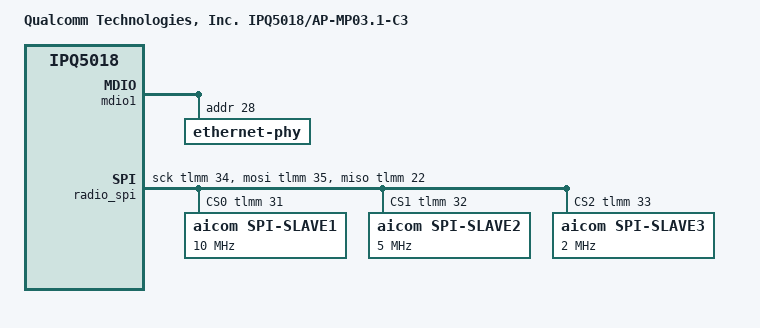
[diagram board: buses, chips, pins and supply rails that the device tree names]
/* Copyright (c) 2018-2021, The Linux Foundation. All rights reserved.
 *
 * Permission to use, copy, modify, and/or distribute this software for any
 * purpose with or without fee is hereby granted, provided that the above
 * copyright notice and this permission notice appear in all copies.
 *
 * THE SOFTWARE IS PROVIDED "AS IS" AND THE AUTHOR DISCLAIMS ALL WARRANTIES
 * WITH REGARD TO THIS SOFTWARE INCLUDING ALL IMPLIED WARRANTIES OF
 * MERCHANTABILITY AND FITNESS. IN NO EVENT SHALL THE AUTHOR BE LIABLE FOR
 * ANY SPECIAL, DIRECT, INDIRECT, OR CONSEQUENTIAL DAMAGES OR ANY DAMAGES
 * WHATSOEVER RESULTING FROM LOSS OF USE, DATA OR PROFITS, WHETHER IN AN
 * ACTION OF CONTRACT, NEGLIGENCE OR OTHER TORTIOUS ACTION, ARISING OUT OF
 * OR IN CONNECTION WITH THE USE OR PERFORMANCE OF THIS SOFTWARE.
 */

#include "ipq5018-mp03.1.dts"

/ {
	#address-cells = <0x2>;
	#size-cells = <0x2>;
	model = "Qualcomm Technologies, Inc. IPQ5018/AP-MP03.1-C3";
	compatible = "qcom,ipq5018-ap-mp03.1-c3", "qcom,ipq5018-mp03.1-c3", "qcom,ipq5018";
	interrupt-parent = <&intc>;

	soc {
		mdio1: mdio@90000 {
			ethernet-phy@0 {
				reg = <28>;
			};
			/delete-node/ethernet-phy@1;
			/delete-node/ethernet-phy@2;
			/delete-node/ethernet-phy@3;
			/delete-node/switch0@10;
		};

		ess-instance {
			num_devices = <0x1>;
			ess-switch@0x39c00000 {
				qcom,port_phyinfo {
					port@1 {
						port_id = <2>;
						phy_address = <0x1c>;
						mdiobus = <&mdio1>;
						port_mac_sel = "QGMAC_PORT";
						/delete-property/forced-speed;
						/delete-property/forced-duplex;
					};
				};
			};
		};

		dp2 {
			qcom,link-poll = <1>;
			qcom,phy-mdio-addr = <28>;
			mdio-bus = <&mdio1>;
		};

                /* wangyaoyang : GPIO configuration for Radio-SPI driver */
                radio_spi: radio-spi {
                        compatible = "aicom,radio-spi";
                        pinctrl-names = "default";
                        pinctrl-0 = <&radio_spi_pins>;

                        cs-gpios = <&tlmm 31 GPIO_ACTIVE_HIGH>,
                                   <&tlmm 32 GPIO_ACTIVE_HIGH>,
                                   <&tlmm 33 GPIO_ACTIVE_HIGH>;  // 三个片选引脚
                        sck-gpios = <&tlmm 34 GPIO_ACTIVE_HIGH>;
                        mosi-gpios = <&tlmm 35 GPIO_ACTIVE_HIGH>;
                        miso-gpios = <&tlmm 22 GPIO_ACTIVE_HIGH>;

                        spi-slave1 {
                                compatible = "aicom,spi-slave1";
                                reg = <0>;  // 从设备ID
                                spi-max-frequency = <10000000>; // 10MHz
                                spi-cpol = <0>; // CPOL=0
                                spi-cpha = <0>; // CPHA=0
                        };

                        spi-slave2 {
                                compatible = "aicom,spi-slave2";
                                reg = <1>;  // 从设备ID
                                spi-max-frequency = <5000000>; // 5MHz
                                spi-cpol = <0>; // CPOL=0
                                spi-cpha = <0>; // CPHA=0
                        };

                        spi-slave3 {
                                compatible = "aicom,spi-slave3";
                                reg = <2>;  // 从设备ID
                                spi-max-frequency = <2000000>; // 2MHz
                                spi-cpol = <0>; // CPOL=0
                                spi-cpha = <0>; // CPHA=0
                        };
                };

	};
};

